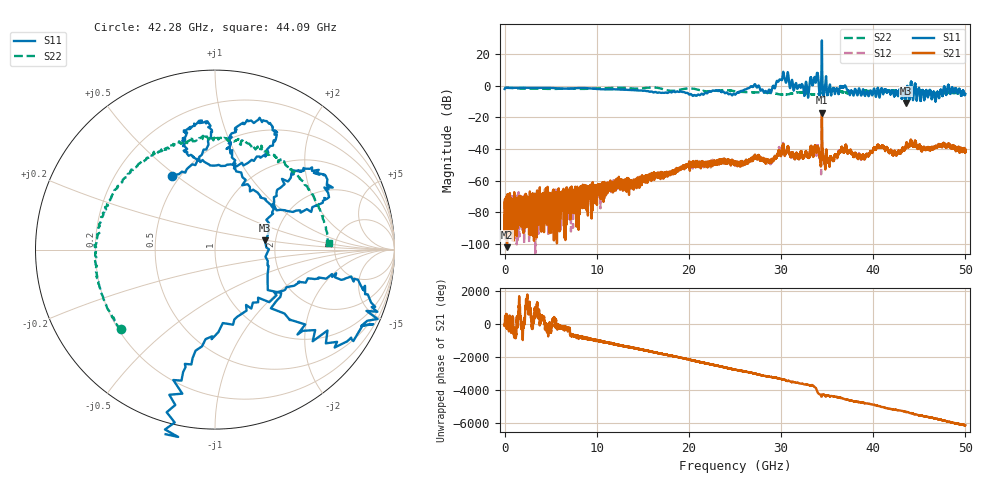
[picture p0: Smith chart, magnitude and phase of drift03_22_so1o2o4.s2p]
!Created with skrf (http://scikit-rf.org).
# Hz S RI R 50.0
!freq ReS11 ImS11 ReS21 ImS21 ReS12 ImS12 ReS22 ImS22
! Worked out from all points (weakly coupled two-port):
!   10000 points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, 5.3 MHz to 50 GHz, reference 50 ohm
!   highest |S21| = -17.03 dB at 34.43 GHz (marker M1); lowest = -102.3 dB at 270.3 MHz (marker M2)
!   lowest |S11| = -11.0 dB at 43.52 GHz (marker M3), VSWR 1.79, Z = 87.7 + j9.77 ohm
!   |S11| at or under -10 dB: 43.49483 GHz to 43.54674 GHz (51.91 MHz wide, 0.119 % of centre); 46.76968 GHz to 46.77026 GHz (583.7 kHz wide, 0.00125 % of centre)
!   |S22| runs from -5.8 to -1.1 dB; largest |S21 - S12| = 0.03
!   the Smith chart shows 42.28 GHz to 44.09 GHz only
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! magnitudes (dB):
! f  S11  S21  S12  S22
! 5.3 MHz  -2.1  -82.2  -85.4  -1.3
! 270.3 MHz  -1.4  -102.3  -84.5  -1.4
! 4.045 GHz  -1.4  -73.6  -71.6  -2.0
! 8.34 GHz  -1.5  -67.7  -70.7  -2.1
! 16.67 GHz  -4.4  -57.1  -55.6  -1.5
! 20.43 GHz  -6.5  -48.4  -51.9  -1.8
! 25.01 GHz  -5.5  -48.7  -49.5  -3.5
! 27.02 GHz  -0.4  -44.9  -44.9  -4.2
! 28.72 GHz  -2.5  -47.6  -48.5  -4.5
! 30.14 GHz  4.4  -39.5  -40.5  -5.6
! 32.74 GHz  2.0  -42.6  -42.4  -4.6
! 33.34 GHz  2.5  -39.9  -40.1  -5.5
! 33.82 GHz  3.9  -41.9  -42.4  -5.7
! 34.43 GHz  28.6  -17.0  -18.4  -4.6
! 35.29 GHz  0.7  -48.9  -47.5  -3.3
! 36.84 GHz  -0.7  -41.8  -41.7  -4.2
! 38.86 GHz  -2.6  -44.5  -44.4  -3.2
! 40.6 GHz  -4.2  -38.0  -38.1  -4.0
! 41.67 GHz  -3.2  -41.8  -42.4  -3.3
! 43.52 GHz  -11.0  -39.7  -38.9  -4.2
! 48.32 GHz  -4.5  -38.5  -38.5  -4.6
! 50 GHz  -5.3  -40.5  -40.8  -4.6
